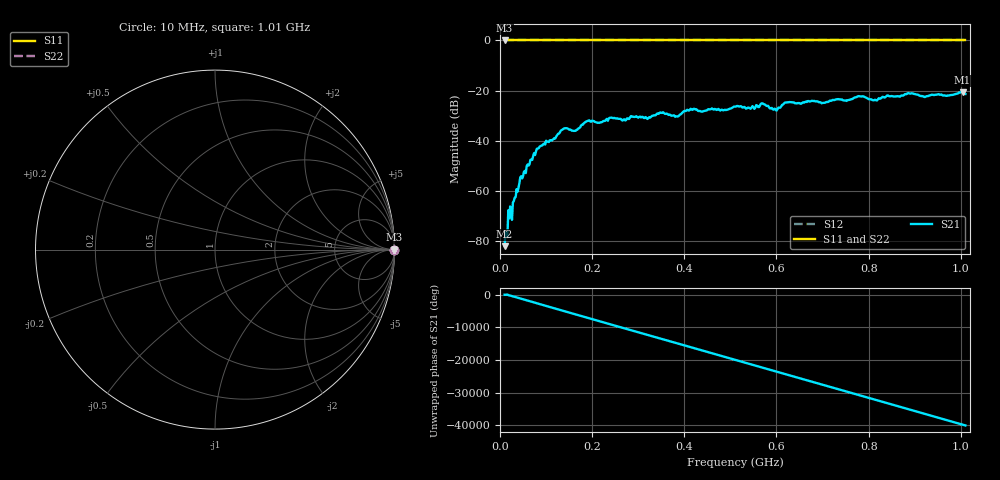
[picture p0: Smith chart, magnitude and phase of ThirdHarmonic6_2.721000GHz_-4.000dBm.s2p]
! 8/17/2025 6:37:57 AM
! C:\ANRITSUVNA\TEMP\TEMP.S2P
! CHANNEL.1
! TR.MEASUREMENT
! RAW.DATA
! RF.CORRECTION.OFF
! AVERAGING.OFF
! IF.BANDWIDTH: 5KHZ
! SWEEPTYPE:  FREQ.SWEEP(Linear)
! Reference Plane Port Info
! PORT:  PORT1  PORT2
! DISTANCE:  0  m  0  m
! TIME:  0  s  0  s
! PHASE.OFFSET:  0  deg.  0  deg.
! LOSS:  0  dB  0  dB
! REF.LOSS:  0  dB  0  dB
! REF.FREQ:  0  Hz  0  Hz
! Power Info
! POWER:  -20  dBm  -20  dBm
! EFF.POWER:  -20  dBm  -20  dBm
! SOURCE.ATTEN:  0  dB  0  dB
! TEST.ATTEN:  0  dB  0  dB
# GHZ S RI R 50.0
! FREQ.GHZ  S11RE  S11IM  S21RE  S21IM  S12RE  S12IM  S22RE  S22IM
!; PortSelection: Port_12
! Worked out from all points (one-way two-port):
!   501 points, 10 MHz to 1.01 GHz, reference 50 ohm
!   highest |S21| = -20.64 dB at 1.004 GHz (marker M1); lowest = -82.0 dB at 10 MHz (marker M2)
!   lowest |S11| = 0.0 dB at 10 MHz (marker M3)
!   |S11| at or under -10 dB: nowhere
!   |S22| runs from 0.0 to 0.0 dB; largest |S21 - S12| = 1.1
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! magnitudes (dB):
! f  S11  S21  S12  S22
! 10 MHz  0.0  -82.0  0.0  0.0
! 12 MHz  0.0  -76.5  0.0  0.0
! 22 MHz  0.0  -66.2  0.0  0.0
! 44 MHz  0.0  -54.6  0.0  0.0
! 78 MHz  0.0  -44.3  0.0  0.0
! 136 MHz  0.0  -35.5  0.0  0.0
! 162 MHz  0.0  -36.0  0.0  0.0
! 178 MHz  0.0  -33.6  0.0  0.0
! 190 MHz  0.0  -32.1  0.0  0.0
! 344 MHz  0.0  -29.2  0.0  0.0
! 384 MHz  0.0  -30.2  0.0  0.0
! 410 MHz  0.0  -28.0  0.0  0.0
! 510 MHz  0.0  -26.4  0.0  0.0
! 570 MHz  0.0  -25.1  0.0  0.0
! 598 MHz  0.0  -27.4  0.0  0.0
! 622 MHz  0.0  -24.7  0.0  0.0
! 678 MHz  0.0  -24.1  0.0  0.0
! 782 MHz  0.0  -22.2  0.0  0.0
! 814 MHz  0.0  -23.6  0.0  0.0
! 844 MHz  0.0  -22.2  0.0  0.0
! 1.004 GHz  0.0  -20.6  0.0  0.0
! 1.01 GHz  0.0  -21.3  0.0  0.0
